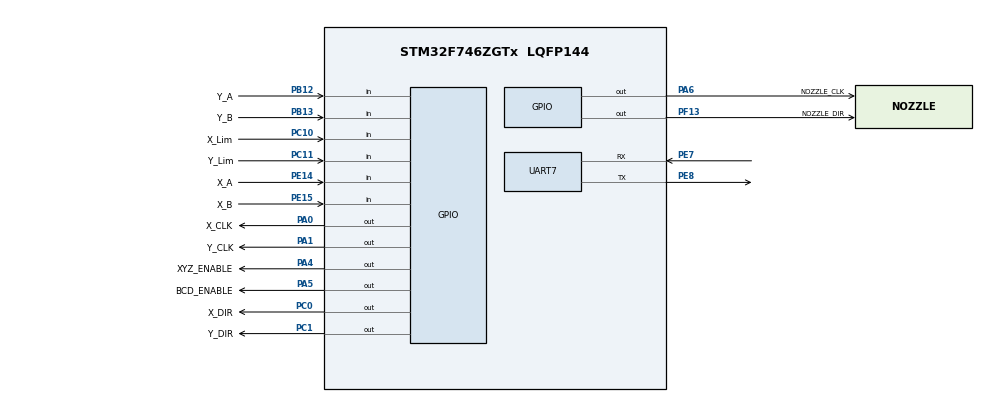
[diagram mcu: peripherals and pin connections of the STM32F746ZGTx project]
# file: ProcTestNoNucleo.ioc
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Mcu.Family=STM32F7
PC10.GPIO_PuPd=GPIO_PULLUP
PC10.GPIO_Label=X_Lim
PC10.Signal=GPIO_Input
PC11.Signal=GPIO_Input
PC0.GPIO_Label=X_DIR
PA0/WKUP.Signal=GPIO_Output
PE14.GPIO_Label=X_A
PA6.GPIO_Label=NOZZLE_CLK
PC0.Signal=GPIO_Output
PB13.GPIO_Label=Y_B
PB13.Signal=GPIO_Input
PF13.GPIO_Label=NOZZLE_DIR
ProjectManager.StackSize=0x400
PE8.Mode=Asynchronous
PC11.GPIO_PuPd=GPIO_PULLUP
PE15.GPIO_Label=X_B
ProjectManager.TargetToolchain=STM32CubeIDE
RCC.USBFreq_Value=96000000
RCC.LSE_VALUE=32768
PA1.Signal=GPIO_Output
PA5.Signal=GPIO_Output
RCC.HSE_VALUE=25000000
board=custom
RCC.VCOOutputFreq_Value=192000000
PB12.GPIO_Label=Y_A
PE14.Signal=GPIO_Input
PE15.Signal=GPIO_Input
PE8.Signal=UART7_TX
PC11.GPIO_Label=Y_Lim
PC1.GPIO_Label=Y_DIR
PA1.GPIO_Label=Y_CLK
PA0/WKUP.GPIO_Label=X_CLK
PF13.Signal=GPIO_Output
Mcu.Name=STM32F746ZGTx
PA4.Signal=GPIO_Output
Mcu.Package=LQFP144
PE7.Mode=Asynchronous
PA6.Signal=GPIO_Output
PA5.GPIO_Label=BCD_ENABLE
ProjectManager.HeapSize=0x200
RCC.HSI_VALUE=16000000
NVIC.PriorityGroup=NVIC_PRIORITYGROUP_4
PE7.Signal=UART7_RX
PA4.GPIO_Label=XYZ_ENABLE
PC1.Signal=GPIO_Output
PB12.Signal=GPIO_Input
NVIC.UART7_IRQn=true\:0\:0\:false\:false\:true\:true\:true

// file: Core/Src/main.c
/* USER CODE BEGIN Header */
/**
  ******************************************************************************
  * @file           : main.c
  * @brief          : Main program body
  ******************************************************************************
  * @attention
  *
  * <h2><center>&copy; Copyright (c) 2021 STMicroelectronics.
  * All rights reserved.</center></h2>
  *
  * This software component is licensed by ST under BSD 3-Clause license,
  * the "License"; You may not use this file except in compliance with the
  * License. You may obtain a copy of the License at:
  *                        opensource.org/licenses/BSD-3-Clause
  *
  ******************************************************************************
  */
/* USER CODE END Header */
#include "main.h"

/* USER CODE BEGIN Includes */
#include <string.h>
#include <math.h>
/* USER CODE END Includes */

/* USER CODE BEGIN PTD */
typedef unsigned long u32;

/* USER CODE END PTD */

/* USER CODE BEGIN PD */
#define LINEMAX 200

/* USER CODE END PD */

UART_HandleTypeDef huart7;

/* USER CODE BEGIN PV */

static unsigned int encoder_pos_x=0;	//X position with encoder
static unsigned int encoder_pos_y=0;	//Y position with encoder
static char buff[1] = "a";
static char flag_crlf = 0;
static int rx_index = 0;
static char rx_buffer[LINEMAX];   // Local holding buffer to build line
static unsigned int target_pos_x=0;
static unsigned int target_pos_y=0;

/* USER CODE END PV */

void SystemClock_Config(void);
static void MX_GPIO_Init(void);
static void MX_UART7_Init(void);
/* USER CODE BEGIN PFP */

void delay_us(int us);
void Setup_X_A_interupt(void);
void Setup_X_B_interupt(void);
void Setup_Y_A_interupt(void);
void Setup_Y_B_interupt(void);
void reg_set(unsigned long int reg, unsigned long int value);
void reg_wr(u32 reg, u32 value);
u32 reg_rd(u32 reg);
void flag_crlf_handler(void);
void UART_Write(char *str);
void x_test(void);
void PnP_init(void);
void x_goto_2(int pos_encoder_target);
void y_goto_2(int pos_encoder_target);
void nozzle_down_1(void);
void nozzle_down_2(void);
void nozzle_up_1(void);
void nozzle_up_2(void);
void nozzle_reset(void);
void amazing_square(void);

/* USER CODE END PFP */

int main(void)
{

  /* MCU Configuration--------------------------------------------------------*/

  /* Reset of all peripherals, Initializes the Flash interface and the Systick. */
  HAL_Init();

  /* Configure the system clock */
  SystemClock_Config();

  /* Initialize all configured peripherals */
  MX_GPIO_Init();
  MX_UART7_Init();
  /* USER CODE BEGIN 2 */

  /* Activate SYSCFG */
  	RCC->APB2ENR |= (1 << 14);

  	Setup_X_A_interupt();
  	Setup_X_B_interupt();
  	Setup_Y_A_interupt();
  	Setup_Y_B_interupt();

	HAL_UART_Receive_IT(&huart7, (uint8_t*) buff, 1);

	HAL_GPIO_WritePin(GPIOA, GPIO_PIN_4, GPIO_PIN_SET); //Enable XYZ
	HAL_GPIO_WritePin(GPIOA, GPIO_PIN_5, GPIO_PIN_SET); //Enable BCD

	PnP_init();

  /* USER CODE END 2 */

  /* Infinite loop */
  /* USER CODE BEGIN WHILE */
	while (1)
	{

		flag_crlf_handler();

    /* USER CODE END WHILE */

	}
}

void SystemClock_Config(void)
{
  RCC_OscInitTypeDef RCC_OscInitStruct = {0};
  RCC_ClkInitTypeDef RCC_ClkInitStruct = {0};
  RCC_PeriphCLKInitTypeDef PeriphClkInitStruct = {0};

  /** Configure the main internal regulator output voltage
  */
  __HAL_RCC_PWR_CLK_ENABLE();
  __HAL_PWR_VOLTAGESCALING_CONFIG(PWR_REGULATOR_VOLTAGE_SCALE3);
  /** Initializes the RCC Oscillators according to the specified parameters
  * in the RCC_OscInitTypeDef structure.
  */
  RCC_OscInitStruct.OscillatorType = RCC_OSCILLATORTYPE_HSI;
  RCC_OscInitStruct.HSIState = RCC_HSI_ON;
  RCC_OscInitStruct.HSICalibrationValue = RCC_HSICALIBRATION_DEFAULT;
  RCC_OscInitStruct.PLL.PLLState = RCC_PLL_NONE;
  if (HAL_RCC_OscConfig(&RCC_OscInitStruct) != HAL_OK)
  {
    Error_Handler();
  }
  /** Initializes the CPU, AHB and APB buses clocks
  */
  RCC_ClkInitStruct.ClockType = RCC_CLOCKTYPE_HCLK|RCC_CLOCKTYPE_SYSCLK
                              |RCC_CLOCKTYPE_PCLK1|RCC_CLOCKTYPE_PCLK2;
  RCC_ClkInitStruct.SYSCLKSource = RCC_SYSCLKSOURCE_HSI;
  RCC_ClkInitStruct.AHBCLKDivider = RCC_SYSCLK_DIV1;
  RCC_ClkInitStruct.APB1CLKDivider = RCC_HCLK_DIV1;
  RCC_ClkInitStruct.APB2CLKDivider = RCC_HCLK_DIV1;

  if (HAL_RCC_ClockConfig(&RCC_ClkInitStruct, FLASH_LATENCY_0) != HAL_OK)
  {
    Error_Handler();
  }
  PeriphClkInitStruct.PeriphClockSelection = RCC_PERIPHCLK_UART7;
  PeriphClkInitStruct.Uart7ClockSelection = RCC_UART7CLKSOURCE_PCLK1;
  if (HAL_RCCEx_PeriphCLKConfig(&PeriphClkInitStruct) != HAL_OK)
  {
    Error_Handler();
  }
}

static void MX_UART7_Init(void)
{

  huart7.Instance = UART7;
  huart7.Init.BaudRate = 115200;
  huart7.Init.WordLength = UART_WORDLENGTH_8B;
  huart7.Init.StopBits = UART_STOPBITS_1;
  huart7.Init.Parity = UART_PARITY_NONE;
  huart7.Init.Mode = UART_MODE_TX_RX;
  huart7.Init.HwFlowCtl = UART_HWCONTROL_NONE;
  huart7.Init.OverSampling = UART_OVERSAMPLING_16;
  huart7.Init.OneBitSampling = UART_ONE_BIT_SAMPLE_DISABLE;
  huart7.AdvancedInit.AdvFeatureInit = UART_ADVFEATURE_NO_INIT;
  if (HAL_UART_Init(&huart7) != HAL_OK)
  {
    Error_Handler();
  }

}

static void MX_GPIO_Init(void)
{
  GPIO_InitTypeDef GPIO_InitStruct = {0};

  /* GPIO Ports Clock Enable */
  __HAL_RCC_GPIOC_CLK_ENABLE();
  __HAL_RCC_GPIOA_CLK_ENABLE();
  __HAL_RCC_GPIOF_CLK_ENABLE();
  __HAL_RCC_GPIOE_CLK_ENABLE();
  __HAL_RCC_GPIOB_CLK_ENABLE();

  /*Configure GPIO pin Output Level */
  HAL_GPIO_WritePin(GPIOC, X_DIR_Pin|Y_DIR_Pin, GPIO_PIN_RESET);

  /*Configure GPIO pin Output Level */
  HAL_GPIO_WritePin(GPIOA, X_CLK_Pin|Y_CLK_Pin|XYZ_ENABLE_Pin|BCD_ENABLE_Pin
                          |NOZZLE_CLK_Pin, GPIO_PIN_RESET);

  /*Configure GPIO pin Output Level */
  HAL_GPIO_WritePin(NOZZLE_DIR_GPIO_Port, NOZZLE_DIR_Pin, GPIO_PIN_RESET);

  /*Configure GPIO pins : X_DIR_Pin Y_DIR_Pin */
  GPIO_InitStruct.Pin = X_DIR_Pin|Y_DIR_Pin;
  GPIO_InitStruct.Mode = GPIO_MODE_OUTPUT_PP;
  GPIO_InitStruct.Pull = GPIO_NOPULL;
  GPIO_InitStruct.Speed = GPIO_SPEED_FREQ_LOW;
  HAL_GPIO_Init(GPIOC, &GPIO_InitStruct);

  /*Configure GPIO pins : X_CLK_Pin Y_CLK_Pin XYZ_ENABLE_Pin BCD_ENABLE_Pin
                           NOZZLE_CLK_Pin */
  GPIO_InitStruct.Pin = X_CLK_Pin|Y_CLK_Pin|XYZ_ENABLE_Pin|BCD_ENABLE_Pin
                          |NOZZLE_CLK_Pin;
  GPIO_InitStruct.Mode = GPIO_MODE_OUTPUT_PP;
  GPIO_InitStruct.Pull = GPIO_NOPULL;
  GPIO_InitStruct.Speed = GPIO_SPEED_FREQ_LOW;
  HAL_GPIO_Init(GPIOA, &GPIO_InitStruct);

  /*Configure GPIO pin : NOZZLE_DIR_Pin */
  GPIO_InitStruct.Pin = NOZZLE_DIR_Pin;
  GPIO_InitStruct.Mode = GPIO_MODE_OUTPUT_PP;
  GPIO_InitStruct.Pull = GPIO_NOPULL;
  GPIO_InitStruct.Speed = GPIO_SPEED_FREQ_LOW;
  HAL_GPIO_Init(NOZZLE_DIR_GPIO_Port, &GPIO_InitStruct);

  /*Configure GPIO pins : X_A_Pin X_B_Pin */
  GPIO_InitStruct.Pin = X_A_Pin|X_B_Pin;
  GPIO_InitStruct.Mode = GPIO_MODE_INPUT;
  GPIO_InitStruct.Pull = GPIO_NOPULL;
  HAL_GPIO_Init(GPIOE, &GPIO_InitStruct);

  /*Configure GPIO pins : Y_A_Pin Y_B_Pin */
  GPIO_InitStruct.Pin = Y_A_Pin|Y_B_Pin;
  GPIO_InitStruct.Mode = GPIO_MODE_INPUT;
  GPIO_InitStruct.Pull = GPIO_NOPULL;
  HAL_GPIO_Init(GPIOB, &GPIO_InitStruct);

  /*Configure GPIO pins : X_Lim_Pin Y_Lim_Pin */
  GPIO_InitStruct.Pin = X_Lim_Pin|Y_Lim_Pin;
  GPIO_InitStruct.Mode = GPIO_MODE_INPUT;
  GPIO_InitStruct.Pull = GPIO_PULLUP;
  HAL_GPIO_Init(GPIOC, &GPIO_InitStruct);

}

/* USER CODE BEGIN 4 */
//Creates a delay. Legnth is chosen by user through "us"
void delay_us(int us)
{
		for(int i=0;i<us*5;i++)
			  {
				  asm volatile("nop");

			  }

}

//Setup interruption from the X_A signal (PE14)
void Setup_X_A_interupt(void) {
	unsigned long int val;
	*(volatile unsigned long int*) (0xE000E100 + 0x4) = (1 << 8); //Activate EXTI15_10 into NVIC
	/* Configure External interrupt 14 to use PE14 */
	val = *(volatile unsigned long int*) (SYSCFG_BASE + 0x14);
	val &= 0xF0FF; /* Clear EXTI14 */
	val |= (4 << 8); /* EXTI14 is now PE14 */
	*(volatile unsigned long int*) ((unsigned long) SYSCFG_BASE + 0x14) = val;
	/* Trigger configuration */
	reg_set(EXTI_BASE + 0x08, (1 << 14)); /* Rising  trigger */

	reg_set(EXTI_BASE + 0x0C, (1 << 14)); /* Falling trigger */
	/* Activate EXTI8 (IMR) */
	reg_set(EXTI_BASE + 0x00, 1 << 14);
}

//Setup interruption for the X_B signal (PE15)
void Setup_X_B_interupt(void) {
	unsigned long int val;
	*(volatile unsigned long int*) (0xE000E100 + 0x4) = (1 << 8); //Activate EXTI15_10 into NVIC
	/* Configure External interrupt 15 to use PE15 */
	val = *(volatile unsigned long int*) (SYSCFG_BASE + 0x14);
	val &= 0x0FFF; /* Clear EXTI15 */
	val |= (4 << 12); /* EXTI15 is now PE15 */
	*(volatile unsigned long int*) ((unsigned long) SYSCFG_BASE + 0x14) = val;
	/* Trigger configuration */
	reg_set(EXTI_BASE + 0x08, (1 << 15)); /* Rising  trigger */

	reg_set(EXTI_BASE + 0x0C, (1 << 15)); /* Falling trigger */

	/* Activate EXTI9 (IMR) */
	reg_set(EXTI_BASE + 0x00, 1 << 15);
}

//Setup interruption from the Y_A signal (PB12)
void Setup_Y_A_interupt(void) {
	unsigned long int val;
	*(volatile unsigned long int*) (0xE000E100 + 0x4) = (1 << 8); //Activate EXTI15_10 into NVIC
	/* Configure External interrupt 12 to use PB12 */
	val = *(volatile unsigned long int*) (SYSCFG_BASE + 0x14);
	val &= 0xFFF0; /* Clear EXTI12 */
	val |= (1 << 0); /* EXTI12 is now PB12 */
	*(volatile unsigned long int*) ((unsigned long) SYSCFG_BASE + 0x14) = val;
	/* Trigger configuration */
	reg_set(EXTI_BASE + 0x08, (1 << 12)); /* Rising  trigger */

	reg_set(EXTI_BASE + 0x0C, (1 << 12)); /* Falling trigger */
	/* Activate EXTI12 (IMR) */
	reg_set(EXTI_BASE + 0x00, 1 << 12);
}

//Setup interruption for the Y_B signal (PB13)
void Setup_Y_B_interupt(void) {
	unsigned long int val;
	*(volatile unsigned long int*) (0xE000E100 + 0x4) = (1 << 8); //Activate EXTI15_10 into NVIC
	/* Configure External interrupt 13 to use PB13 */
	val = *(volatile unsigned long int*) (SYSCFG_BASE + 0x14);
	val &= 0xFF0F; /* Clear EXTI13 */
	val |= (1 << 4); /* EXTI13 is now PB13 */
	*(volatile unsigned long int*) ((unsigned long) SYSCFG_BASE + 0x14) = val;
	/* Trigger configuration */
	reg_set(EXTI_BASE + 0x08, (1 << 13)); /* Rising  trigger */

	reg_set(EXTI_BASE + 0x0C, (1 << 13)); /* Falling trigger */

	/* Activate EXTI13 (IMR) */
	reg_set(EXTI_BASE + 0x00, 1 << 13);
}

//Interruptions from pins 15 to 10
void EXTI15_10_IRQHandler(void) {
	u32 val;
	val = reg_rd(EXTI_BASE + 0x14);		//Checks which interruption is called

	reg_wr(EXTI_BASE + 0x14, val & 0xFC00); // Clear pending register from 15 to 10

	if (HAL_GPIO_ReadPin(GPIOC, GPIO_PIN_10) == 0)	// X limit switch closed
	//if ( (GPIOC->IDR & (1 << 10)) == 0)
		encoder_pos_x = 0;							//Reset X coordinate

	if (HAL_GPIO_ReadPin(GPIOC, GPIO_PIN_11) == 0)	// Y limit switch closed
	//if ( (GPIOC->IDR & (1 << 11)) == 0)
		encoder_pos_y = 0;							//Reset Y coordinate

	if (val & (1 << 14))		//EXTI14
			{
		if (HAL_GPIO_ReadPin(GPIOE, GPIO_PIN_14))			//Rising edge on X_A
				{
			if (HAL_GPIO_ReadPin(GPIOE, GPIO_PIN_15))				//X_B is HIGH
					{
				encoder_pos_x++;
			} else if (HAL_GPIO_ReadPin(GPIOE, GPIO_PIN_15) == 0)	//X_B is LOW

					{
				encoder_pos_x--;
			}
		} else if (HAL_GPIO_ReadPin(GPIOE, GPIO_PIN_14) == 0)//Falling edge on X_A
				{
			if (HAL_GPIO_ReadPin(GPIOE, GPIO_PIN_15))				//X_B is HIGH
					{
				encoder_pos_x--;
			} else if (HAL_GPIO_ReadPin(GPIOE, GPIO_PIN_15) == 0)	//X_B is LOW

					{
				encoder_pos_x++;
			}
		}
	}

	if (val & (1 << 15))		//EXTI15
			{
		if (HAL_GPIO_ReadPin(GPIOE, GPIO_PIN_15))			//Rising edge on X_B
				{
			if (HAL_GPIO_ReadPin(GPIOE, GPIO_PIN_14))				//X_A is HIGH
					{
				encoder_pos_x--;
			} else if (HAL_GPIO_ReadPin(GPIOE, GPIO_PIN_14) == 0)	//X_A is LOW
					{
				encoder_pos_x++;
			}
		} else if (HAL_GPIO_ReadPin(GPIOE, GPIO_PIN_15) == 0)//Falling edge on X_B
				{
			if (HAL_GPIO_ReadPin(GPIOE, GPIO_PIN_14))				//X_A is HIGH
					{
				encoder_pos_x++;
			} else if (HAL_GPIO_ReadPin(GPIOE, GPIO_PIN_14) == 0)	//X_A is LOW
					{
				encoder_pos_x--;
			}
		}
	}

	if(val & (1 << 12))		//R or F on Y_A
		{
			if(HAL_GPIO_ReadPin(GPIOB, GPIO_PIN_12))		//Rising edge on Y_A
			{
				if(HAL_GPIO_ReadPin(GPIOB, GPIO_PIN_13))	//Y_B is HIGH
					encoder_pos_y--;
				else if(HAL_GPIO_ReadPin(GPIOB, GPIO_PIN_13)==0)	//Y_B is LOW
					encoder_pos_y++;
			}
			else if(HAL_GPIO_ReadPin(GPIOB, GPIO_PIN_12)==0)
			{
				if(HAL_GPIO_ReadPin(GPIOB, GPIO_PIN_13))
								encoder_pos_y++;
				else if(HAL_GPIO_ReadPin(GPIOB, GPIO_PIN_13)==0)
								encoder_pos_y--;
			}
		}

	if(val & (1 << 13))		//R or F on Y_B
	{
		if(HAL_GPIO_ReadPin(GPIOB, GPIO_PIN_13))		//Rising edge on Y_B
		{
			if(HAL_GPIO_ReadPin(GPIOB, GPIO_PIN_12))	//Y_A is HIGH
				encoder_pos_y++;
			else if(HAL_GPIO_ReadPin(GPIOB, GPIO_PIN_12)==0)	//Y_A is LOW
				encoder_pos_y--;
		}
		else if(HAL_GPIO_ReadPin(GPIOB, GPIO_PIN_13)==0)
		{
			if(HAL_GPIO_ReadPin(GPIOB, GPIO_PIN_12))
							encoder_pos_y--;
			else if(HAL_GPIO_ReadPin(GPIOB, GPIO_PIN_12)==0)
							encoder_pos_y++;
		}
	}
}

//Sets chosen bits of a 32bit register using value
void reg_set(unsigned long int reg, unsigned long int value) {
	*(volatile unsigned long int*) reg = (*(volatile unsigned long int*) reg
			| value);
}

//Overwrite a 32bit register with given value
void reg_wr(u32 reg, u32 value) {
	*(volatile u32*) reg = value;
}

//Returns a 32bit register from provided address
u32 reg_rd(u32 reg) {
	return (*(volatile u32*) reg);
}

void HAL_UART_RxCpltCallback(UART_HandleTypeDef *huart) {

	if (buff[0] >= 0 && buff[0] <= 127) {
		switch (buff[0]) {

		case 8:
			HAL_UART_Transmit_IT(&huart7, (uint8_t*) "\b \b", 3);
			//HAL_UART_Transmit_IT(&huart7, (uint8_t *) space, 1);
			//HAL_UART_Transmit_IT(&huart7, (uint8_t *) buff, 1);
			if (rx_index > 0)
				rx_index--;
			break;

		case 13:
			//HAL_UART_Transmit_IT(&huart7, (uint8_t *) buff, 1);
			HAL_UART_Transmit_IT(&huart7, (uint8_t*) "\r\n", 2);
			flag_crlf = 1;
			break;

		default:
			HAL_UART_Transmit_IT(&huart7, (uint8_t*) buff, 1);

			break;

		}

	}

	if (rx_index < LINEMAX && buff[0] != 8) {

		rx_buffer[rx_index] = buff[0];
		rx_index++;
	}

	HAL_UART_Receive_IT(&huart7, (uint8_t*) buff, 1);
}

void flag_crlf_handler(void) {
	int strlength = 0;
	if (flag_crlf) {

		flag_crlf = 0;
		strlength = rx_index;
		rx_index = 0;
		rx_buffer[strlength - 1] = '\0';

		/*Commands with arguments*/
		if (strchr(rx_buffer, ' ')) {

			//UART_Write("SPAAAAAAAACE\r\n");
			if (strncmp(rx_buffer, "move ", 5) == 0) {
				char *args = &(rx_buffer[5]);
				if(strncmp(args, "x:", 2) == 0)
				{
					//UART_Write("MOVE X OR X and Y DETECTED\r\n");
					if (strchr(args, ' '))
					{
						char *args2 = strchr(args,' ');
						int x_digits = strlen(args)-strlen(args2)-2;
						int y_digits = strlen(args2)-3;

						int x_decimal=0;
						for(int i=0;i<x_digits;i++)
						{
							x_decimal += (args[2+i]-'0')*pow(10,x_digits-1-i);
						}
						target_pos_x=x_decimal;

						int y_decimal=0;
						for(int i=0;i<y_digits;i++)
						{
							y_decimal += (args2[3+i]-'0')*pow(10,y_digits-1-i);
						}
						target_pos_y=y_decimal;

						UART_Write("MOVE X AND Y DETECTED\r\n");
						x_goto_2(target_pos_x);
						y_goto_2(target_pos_y);

					}
					else
					{
						int x_digits = strlen(rx_buffer)-7;
						int x_decimal=0;
						for(int i=0;i<x_digits;i++)
						{
							x_decimal += (args[2+i]-'0')*pow(10,x_digits-1-i);
						}
						target_pos_x=x_decimal;
						UART_Write("MOVE ONLY X DETECTED\r\n");
						x_goto_2(target_pos_x);
					}
				}
				else if(strncmp(args, "y:", 2) == 0)
				{
					int y_digits = strlen(rx_buffer)-7;
					int y_decimal=0;
					for(int i=0;i<y_digits;i++)
					{
						y_decimal += (args[2+i]-'0')*pow(10,y_digits-1-i);
					}
					target_pos_y=y_decimal;
					UART_Write("MOVE ONLY Y DETECTED\r\n");
					y_goto_2(target_pos_y);
				}
				else
				{
					UART_Write("MOVE ERROR\r\n");
				}
			}
			if (strncmp(rx_buffer, "nozzle ", 7) == 0)
			{
				char *args = &(rx_buffer[7]);
				if(strncmp(args, "move ", 5) == 0)
				{

					UART_Write("NOZZLE MOVE DETECTED\r\n");
					char *args2 = &(args[5]);
					if(strncmp(args2, "1", 1) == 0)
					{
						if (strchr(args2, ' '))
						{
							char *args3 = &(args2[2]);
							int z_digits = strlen(rx_buffer)-14;
							int z_decimal=0;
							for(int i=0;i<z_digits;i++)
							{
								z_decimal += (args3[i]-'0')*pow(10,z_digits-1-i);
							}
							UART_Write("MOVE NOZZLE 1 DETECTED\r\n");
						}
					}
					else if(strncmp(args2, "2", 1) == 0)
					{
						if (strchr(args2, ' '))
						{
							char *args3 = &(args2[2]);
							int z_digits = strlen(rx_buffer)-14;
							int z_decimal=0;
							for(int i=0;i<z_digits;i++)
							{
								z_decimal += (args3[i]-'0')*pow(10,z_digits-1-i);
							}

							UART_Write("MOVE NOZZLE 2 DETECTED\r\n");
						}
					}
				}
				else if(strncmp(args, "down ", 5) == 0)
				{
					char *args2 = &(args[5]);
					if(strncmp(args2, "1", 1) == 0)
					{
						nozzle_down_1();
					}
					else if(strncmp(args2, "2", 1)==0)
					{
						nozzle_down_2();
					}
				}
				else if(strncmp(args, "up ", 3) == 0)
				{
					char *args2 = &(args[3]);
					if(strncmp(args2, "1", 1) == 0)
					{
						nozzle_up_1();
					}
					else if(strncmp(args2, "2", 1)==0)
					{
						nozzle_up_2();
					}
				}
				else if(strncmp(args, "reset", 5) == 0)
				{
					nozzle_reset();
				}
				else if(strncmp(args, "rotate ", 7) == 0)
				{
					UART_Write("NOZZLE ROTATE DETECTED\r\n");

					char *args2 = &(args[7]);
					if(strncmp(args2, "1", 1) == 0)
					{
						if (strchr(args2, ' '))
						{
							char *args3 = &(args2[2]);
							int z_digits = strlen(rx_buffer)-16;
							int z_decimal=0;
							for(int i=0;i<z_digits;i++)
							{
								z_decimal += (args3[i]-'0')*pow(10,z_digits-1-i);
							}
							UART_Write("ROTATE NOZZLE 1 DETECTED\r\n");
						}
					}
					else if(strncmp(args2, "2", 1) == 0)
					{
						if (strchr(args2, ' '))
						{
							char *args3 = &(args2[2]);
							int z_digits = strlen(rx_buffer)-16;
							int z_decimal=0;
							for(int i=0;i<z_digits;i++)
							{
								z_decimal += (args3[i]-'0')*pow(10,z_digits-1-i);
							}
							UART_Write("ROTATE NOZZLE 2 DETECTED\r\n");
						}
					}
				}
			}
			UART_Write("DONE\r\n");
		}

		/*Commands without arguments*/
		else {
			if (strcmp(rx_buffer, "enable-xyz") == 0) {

				UART_Write("WOW ENABLE\r\n");
				HAL_GPIO_WritePin(GPIOA, GPIO_PIN_4, GPIO_PIN_SET);	//XYZ ENABLE
			}
			else if (strcmp(rx_buffer, "disable-xyz") == 0) {

				UART_Write("WOW DISABLE\r\n");
				HAL_GPIO_WritePin(GPIOA, GPIO_PIN_4, GPIO_PIN_RESET);	//XYZ DISABLE
			}
			else if (strcmp(rx_buffer, "enable-bcd") == 0) {

				UART_Write("WOW ENABLE\r\n");
				HAL_GPIO_WritePin(GPIOA, GPIO_PIN_5, GPIO_PIN_SET);	//BCD ENABLE
			}
			else if (strcmp(rx_buffer, "disable-bcd") == 0) {

				UART_Write("WOW DISABLE\r\n");
				HAL_GPIO_WritePin(GPIOA, GPIO_PIN_5, GPIO_PIN_RESET);	//BCD DISABLE
			}
			else if (strcmp(rx_buffer, "square") == 0) {
				while(1)
				amazing_square();
			}

		}
		if(strcmp(rx_buffer, "\0") != 0)
		{
			UART_Write("\n");
		}
	}
}

void UART_Write(char *str)
{
	while ((HAL_UART_Transmit(&huart7, (uint8_t*) str, strlen(str), 0xFFFF)) != HAL_OK);
}

//Test that makes the head go back and forth, user can choose the length via step_target, no verification via encoder
void x_test(void) {
	int i = 0;			//Counts number of loop iterations
	while (1) {
		int step = 0;								//Counts iterations
		int step_target = 5000;	//Number of steps done by the program (9524 = 30cm)

		while (step <= (step_target * 2)) {
			HAL_GPIO_TogglePin(GPIOA, GPIO_PIN_0);	//Set PA0 to 1 or 0

			step++;

			delay_us(1000); //Choose the half-period in us of the signal. Lower = Faster motor

		}

		delay_us(1000000); //500ms delay

		i++;
		HAL_GPIO_TogglePin(GPIOC, GPIO_PIN_0); //Change DIRECTION

		//encoder_pos_x = 0; //JUST FOR TESTING
	}
}

//Head goes to zero
void PnP_init(void) {
	HAL_GPIO_WritePin(GPIOC, GPIO_PIN_0, GPIO_PIN_RESET); //Set X direction to left
	//int pinstatec10 = HAL_GPIO_ReadPin(GPIOC, GPIO_PIN_10);
	while (HAL_GPIO_ReadPin(GPIOC, GPIO_PIN_10)) //While limit switch open
	{
		HAL_GPIO_TogglePin(GPIOA, GPIO_PIN_0);	//X CLK

		delay_us(100); //Choose the half-period in us of the signal. Lower = Faster motor
	}
	encoder_pos_x = 0;

	delay_us(100000);

	HAL_GPIO_WritePin(GPIOC, GPIO_PIN_1, GPIO_PIN_RESET); //Set Y direction to down
		while (HAL_GPIO_ReadPin(GPIOC, GPIO_PIN_11)) //While limit switch open
		{
			HAL_GPIO_TogglePin(GPIOA, GPIO_PIN_1);	//Y CLK

			delay_us(100); //Choose the half-period in us of the signal. Lower = Faster motor
		}
		encoder_pos_y = 0;
}

//Go to X position pos_encoder_target based on encoder, verification via encoder
void x_goto_2(int pos_encoder_target) {
	int delta = pos_encoder_target - encoder_pos_x;

	if (delta > 0) {
		HAL_GPIO_WritePin(GPIOC, GPIO_PIN_0, GPIO_PIN_SET); //Set X direction to right

		if ((delta + encoder_pos_x) > 31745) {
			delta = 0;
		}

		while (encoder_pos_x < pos_encoder_target) {
			HAL_GPIO_TogglePin(GPIOA, GPIO_PIN_0);	//X CLK

			delay_us(100); //Choose the half-period in us of the signal. Lower = Faster motor

		}
	} else {
		HAL_GPIO_WritePin(GPIOC, GPIO_PIN_0, GPIO_PIN_RESET); //Set X direction to left
		delta = -delta;

		if (delta > encoder_pos_x) {
			delta = 0;
		}

		while (encoder_pos_x > pos_encoder_target) {
			HAL_GPIO_TogglePin(GPIOA, GPIO_PIN_0);	//X CLK

			delay_us(100); //Choose the half-period in us of the signal. Lower = Faster motor

		}
	}
}

//Go to Y position pos_encoder_target based on encoder, verification via encoder
void y_goto_2(int pos_encoder_target) {
	int delta = pos_encoder_target - encoder_pos_y;

	if (delta > 0) {
		HAL_GPIO_WritePin(GPIOC, GPIO_PIN_1, GPIO_PIN_SET); //Set Y direction to up

		if ((delta + encoder_pos_y) > 31745) {
			delta = 0;
		}

		while (encoder_pos_y < pos_encoder_target) {
			HAL_GPIO_TogglePin(GPIOA, GPIO_PIN_1);	//Y CLK

			delay_us(100); //Choose the half-period in us of the signal. Lower = Faster motor

		}
	} else {
		HAL_GPIO_WritePin(GPIOC, GPIO_PIN_1, GPIO_PIN_RESET); //Set Y direction to down
		delta = -delta;

		if (delta > encoder_pos_y) {
			delta = 0;
		}

		while (encoder_pos_y > pos_encoder_target) {
			HAL_GPIO_TogglePin(GPIOA, GPIO_PIN_1);	//Y CLK

			delay_us(100); //Choose the half-period in us of the signal. Lower = Faster motor

		}
	}
}

void nozzle_down_1(void)
{
	HAL_GPIO_WritePin(GPIOF, GPIO_PIN_13, GPIO_PIN_SET); //Left nozzle down
	for (int i = 0; i < 250; i++) {
		HAL_GPIO_TogglePin(GPIOA, GPIO_PIN_6);	//NOZZLE CLK

		delay_us(1000); //Choose the half-period in us of the signal. Lower = Faster motor

	}
}

void nozzle_down_2(void)
{
	HAL_GPIO_WritePin(GPIOF, GPIO_PIN_13, GPIO_PIN_RESET); //Left nozzle down
	for (int i = 0; i < 250; i++) {
		HAL_GPIO_TogglePin(GPIOA, GPIO_PIN_6);	//NOZZLE CLK

		delay_us(1000); //Choose the half-period in us of the signal. Lower = Faster motor

	}
}

void nozzle_up_1(void)
{
	nozzle_down_2();
}

void nozzle_up_2(void)
{
	nozzle_down_1();
}

void nozzle_reset(void)
{
	HAL_GPIO_WritePin(GPIOA, GPIO_PIN_5, GPIO_PIN_RESET); //Disable BCD

	delay_us(100000);

	HAL_GPIO_WritePin(GPIOA, GPIO_PIN_5, GPIO_PIN_SET); //Enable BCD
}

void amazing_square(void)
{
	x_goto_2(26000);
	delay_us(100000);
	y_goto_2(26000);
	delay_us(100000);
	x_goto_2(5000);
	delay_us(100000);
	y_goto_2(5000);
	delay_us(100000);
}

/* USER CODE END 4 */

void Error_Handler(void)
{
  __disable_irq();
  while (1)
  {
  }
}

/************************ (C) COPYRIGHT STMicroelectronics *****END OF FILE****/
